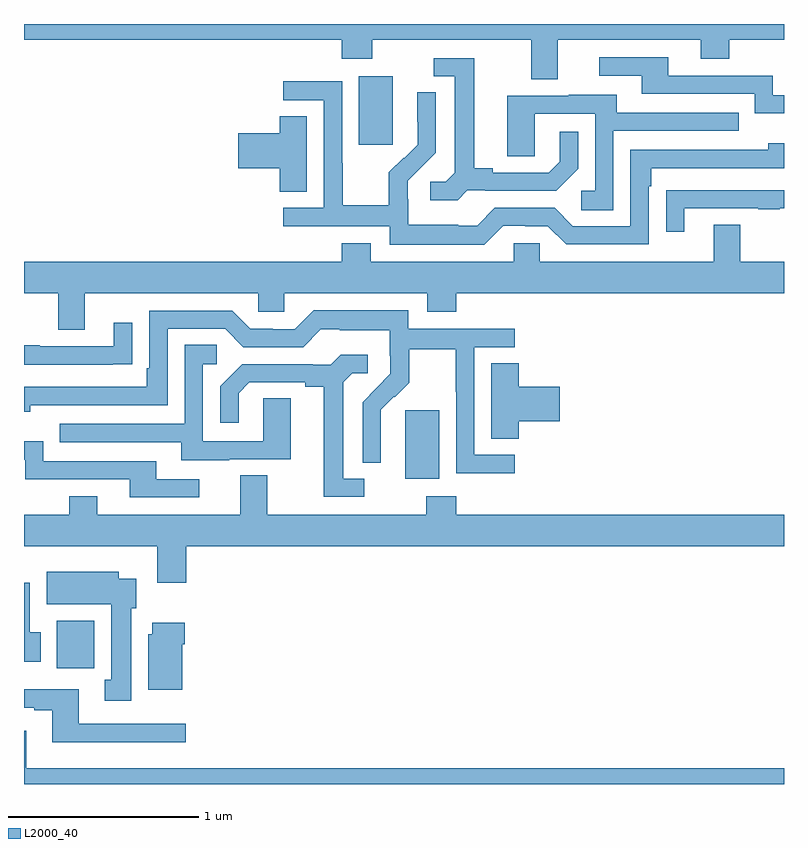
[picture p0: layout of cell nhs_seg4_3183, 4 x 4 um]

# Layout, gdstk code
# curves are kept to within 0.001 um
import gdstk
lib = gdstk.Library(unit=1e-6, precision=1e-09)
def R(c, l, rs):  # rectangles x0, y0, x1, y1
    for r in rs: c.add(gdstk.rectangle(r[:2], r[2:], *l))
def P(c, l, *ps):  # polygons
    for p in ps: c.add(gdstk.Polygon(p, *l))
L2000_40 = (2000, 40)

nhs_seg4_3183 = lib.new_cell('nhs_seg4_3183')
R(nhs_seg4_3183, L2000_40, [(279.173,797.508,279.369,797.758), (281.006,798.506,281.185,798.867), (280.763,800.265,280.942,800.626)])
P(nhs_seg4_3183, L2000_40, [(281.809,800.816),(282.563,800.816),(282.563,800.717),(282.711,800.717),(282.711,800.816),(283,800.816),(283,800.9),(279,800.9),(279,800.816),(280.673,800.816),(280.673,800.717),(280.833,800.717),(280.833,800.816),(281.669,800.816),(281.669,800.608),(281.809,800.608)],
  [(283,800.526),(282.942,800.526),(282.942,800.628),(282.391,800.628),(282.391,800.724),(282.027,800.724),(282.027,800.628),(282.251,800.628),(282.251,800.532),(282.846,800.532),(282.846,800.429),(283,800.429)],
  [(281.334,800.025),(281.428,800.025),(281.428,800.022),(281.8,800.022),(281.916,800.138),(281.916,800.332),(281.819,800.332),(281.819,800.175),(281.762,800.118),(281.467,800.118),(281.467,800.141),(281.371,800.141),(281.371,800.721),(281.157,800.721),(281.157,800.625),(281.267,800.625),(281.267,800.117),(281.22,800.07),(281.139,800.07),(281.139,799.973),(281.282,799.973)],
  [(281.523,799.839),(281.639,799.839),(281.639,799.836),(281.757,799.836),(281.853,799.74),(282.288,799.74),(282.288,800.045),(282.301,800.045),(282.301,800.142),(283,800.142),(283,800.272),(282.917,800.272),(282.917,800.238),(282.192,800.238),(282.192,799.836),(281.889,799.836),(281.793,799.932),(281.478,799.932),(281.385,799.839),(281.285,799.839),(281.285,799.843),(281.022,799.843),(281.022,799.977),(281.02,799.977),(281.02,800.074),(281.166,800.222),(281.166,800.54),(281.07,800.54),(281.07,800.386),(281.072,800.386),(281.072,800.264),(281.001,800.193),(280.998,800.196),(280.921,800.119),(280.921,799.945),(280.677,799.945),(280.677,800.168),(280.674,800.168),(280.674,800.598),(280.365,800.598),(280.365,800.499),(280.578,800.499),(280.578,799.932),(280.365,799.932),(280.365,799.836),(280.926,799.836),(280.926,799.739),(281.423,799.739)],
  [(282.102,800.337),(282.761,800.337),(282.761,800.433),(282.121,800.433),(282.121,800.527),(281.867,800.527),(281.867,800.523),(281.543,800.523),(281.543,800.203),(281.688,800.203),(281.688,800.427),(282.006,800.427),(282.006,800.022),(281.934,800.022),(281.934,799.921),(282.102,799.921)],
  [(280.489,800.414),(280.346,800.414),(280.346,800.324),(280.128,800.324),(280.128,800.141),(280.346,800.141),(280.346,800.017),(280.489,800.017)],
  [(282.475,799.929),(282.865,799.929),(282.865,799.924),(282.977,799.924),(282.977,799.929),(283,799.929),(283,800.025),(282.481,800.025),(282.481,800.024),(282.379,800.024),(282.379,799.806),(282.475,799.806)],
  [(279.319,799.484),(280.233,799.484),(280.233,799.386),(280.371,799.386),(280.371,799.484),(281.123,799.484),(281.123,799.385),(281.276,799.385),(281.276,799.484),(283,799.484),(283,799.648),(282.769,799.648),(282.769,799.843),(282.629,799.843),(282.629,799.648),(281.715,799.648),(281.715,799.746),(281.577,799.746),(281.577,799.648),(280.825,799.648),(280.825,799.747),(280.673,799.747),(280.673,799.648),(279,799.648),(279,799.484),(279.179,799.484),(279.179,799.29),(279.319,799.29)],
  [(281.584,798.633),(281.37,798.633),(281.37,799.2),(281.584,799.2),(281.584,799.296),(281.022,799.296),(281.022,799.393),(280.525,799.393),(280.425,799.293),(280.31,799.293),(280.31,799.296),(280.191,799.296),(280.095,799.392),(279.66,799.392),(279.66,799.087),(279.647,799.087),(279.647,798.99),(279,798.99),(279,798.86),(279.032,798.86),(279.032,798.894),(279.756,798.894),(279.756,799.296),(280.059,799.296),(280.155,799.2),(280.47,799.2),(280.563,799.293),(280.663,799.293),(280.663,799.289),(280.926,799.289),(280.926,799.155),(280.928,799.155),(280.928,799.058),(280.782,798.91),(280.782,798.592),(280.878,798.592),(280.877,798.869),(280.947,798.939),(280.95,798.936),(281.027,799.013),(281.027,799.188),(281.272,799.188),(281.272,798.964),(281.274,798.964),(281.274,798.535),(281.584,798.535)],
  [(279.467,799.108),(279.569,799.108),(279.569,799.327),(279.473,799.327),(279.473,799.203),(279.083,799.203),(279.083,799.208),(279,799.208),(279,799.107),(279.467,799.107)],
  [(280.081,798.609),(280.405,798.609),(280.405,798.929),(280.26,798.929),(280.26,798.705),(279.942,798.705),(279.942,799.11),(280.015,799.11),(280.015,799.211),(279.846,799.211),(279.846,798.795),(279.187,798.795),(279.187,798.699),(279.827,798.699),(279.827,798.605),(280.081,798.605)],
  [(280.792,798.507),(280.681,798.507),(280.681,799.015),(280.728,799.062),(280.81,799.062),(280.81,799.159),(280.666,799.159),(280.614,799.107),(280.52,799.107),(280.52,799.11),(280.148,799.11),(280.032,798.994),(280.032,798.801),(280.129,798.801),(280.129,798.957),(280.186,799.014),(280.481,799.014),(280.481,798.992),(280.577,798.992),(280.577,798.411),(280.792,798.411)],
  [(281.603,798.809),(281.821,798.809),(281.821,798.992),(281.603,798.992),(281.603,799.115),(281.459,799.115),(281.459,798.718),(281.603,798.718)],
  [(279.922,798.504),(279.697,798.504),(279.697,798.6),(279.102,798.6),(279.102,798.703),(279,798.703),(279,798.606),(279.006,798.606),(279.006,798.504),(279.557,798.504),(279.557,798.408),(279.922,798.408)],
  [(279.854,798.152),(283,798.152),(283,798.316),(281.276,798.316),(281.276,798.415),(281.116,798.415),(281.116,798.316),(280.279,798.316),(280.279,798.524),(280.139,798.524),(280.139,798.316),(279.385,798.316),(279.385,798.415),(279.238,798.415),(279.238,798.316),(279,798.316),(279,798.152),(279.701,798.152),(279.701,797.958),(279.854,797.958)],
  [(279.565,797.826),(279.592,797.826),(279.592,797.98),(279.499,797.98),(279.499,798.016),(279.119,798.016),(279.119,797.846),(279.458,797.846),(279.458,797.449),(279.425,797.449),(279.425,797.337),(279.565,797.337)],
  [(279.088,797.7),(279.031,797.7),(279.031,797.958),(279,797.958),(279,797.544),(279.088,797.544)],
  [(279.832,797.636),(279.845,797.636),(279.845,797.749),(279.674,797.749),(279.674,797.688),(279.653,797.688),(279.653,797.396),(279.832,797.396)],
  [(279.85,797.217),(279.289,797.217),(279.289,797.398),(279,797.398),(279,797.301),(279.053,797.301),(279.053,797.289),(279.149,797.289),(279.149,797.12),(279.85,797.12)],
  [(283,796.984),(279.013,796.984),(279.013,797.179),(279,797.179),(279,796.9),(283,796.9)])

lib.write_gds('nhs_seg4_3183.gds')
